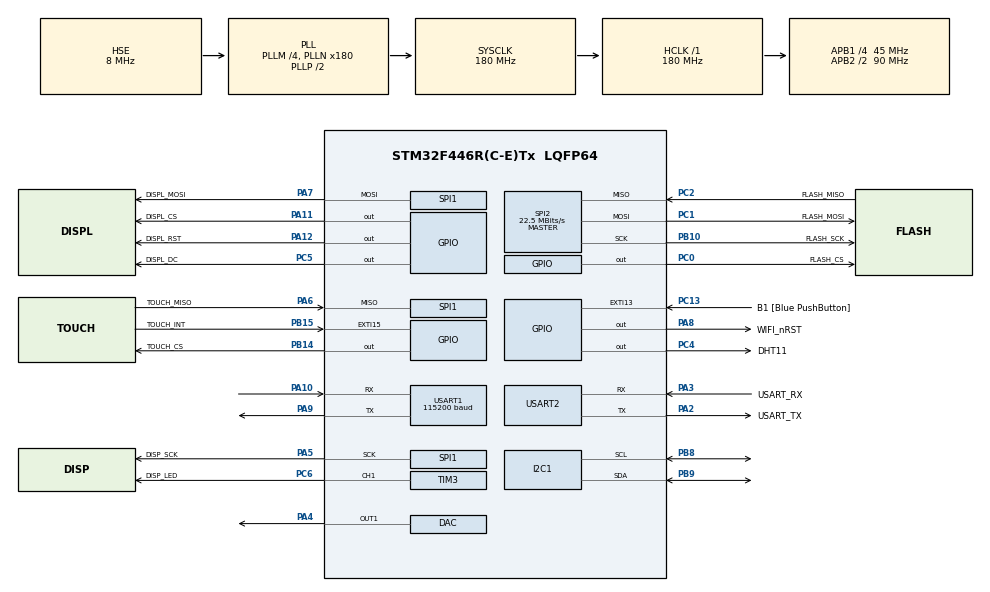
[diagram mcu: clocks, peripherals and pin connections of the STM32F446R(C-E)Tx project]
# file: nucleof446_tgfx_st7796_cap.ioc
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Dma.Request0=SPI1_TX
Dma.Request1=USART1_RX
Dma.Request2=SPI2_TX
Dma.Request3=USART1_TX
Dma.SPI1_TX.0.Direction=DMA_MEMORY_TO_PERIPH
Dma.SPI1_TX.0.FIFOMode=DMA_FIFOMODE_DISABLE
Dma.SPI1_TX.0.Instance=DMA2_Stream3
Dma.SPI1_TX.0.MemDataAlignment=DMA_MDATAALIGN_BYTE
Dma.SPI1_TX.0.MemInc=DMA_MINC_ENABLE
Dma.SPI1_TX.0.Mode=DMA_NORMAL
Dma.SPI1_TX.0.PeriphDataAlignment=DMA_PDATAALIGN_BYTE
Dma.SPI1_TX.0.PeriphInc=DMA_PINC_DISABLE
Dma.SPI1_TX.0.Priority=DMA_PRIORITY_LOW
Dma.SPI2_TX.2.Direction=DMA_MEMORY_TO_PERIPH
Dma.SPI2_TX.2.FIFOMode=DMA_FIFOMODE_DISABLE
Dma.SPI2_TX.2.Instance=DMA1_Stream4
Dma.SPI2_TX.2.MemDataAlignment=DMA_MDATAALIGN_BYTE
Dma.SPI2_TX.2.MemInc=DMA_MINC_ENABLE
Dma.SPI2_TX.2.Mode=DMA_NORMAL
Dma.SPI2_TX.2.PeriphDataAlignment=DMA_PDATAALIGN_BYTE
Dma.SPI2_TX.2.PeriphInc=DMA_PINC_DISABLE
Dma.SPI2_TX.2.Priority=DMA_PRIORITY_LOW
Dma.USART1_RX.1.Direction=DMA_PERIPH_TO_MEMORY
Dma.USART1_RX.1.FIFOMode=DMA_FIFOMODE_DISABLE
Dma.USART1_RX.1.Instance=DMA2_Stream2
Dma.USART1_RX.1.MemDataAlignment=DMA_MDATAALIGN_BYTE
Dma.USART1_RX.1.MemInc=DMA_MINC_ENABLE
Dma.USART1_RX.1.Mode=DMA_NORMAL
Dma.USART1_RX.1.PeriphDataAlignment=DMA_PDATAALIGN_BYTE
Dma.USART1_RX.1.PeriphInc=DMA_PINC_DISABLE
Dma.USART1_RX.1.Priority=DMA_PRIORITY_LOW
Dma.USART1_TX.3.Direction=DMA_MEMORY_TO_PERIPH
Dma.USART1_TX.3.FIFOMode=DMA_FIFOMODE_DISABLE
Dma.USART1_TX.3.Instance=DMA2_Stream7
Dma.USART1_TX.3.MemDataAlignment=DMA_MDATAALIGN_BYTE
Dma.USART1_TX.3.MemInc=DMA_MINC_ENABLE
Dma.USART1_TX.3.Mode=DMA_NORMAL
Dma.USART1_TX.3.PeriphDataAlignment=DMA_PDATAALIGN_BYTE
Dma.USART1_TX.3.PeriphInc=DMA_PINC_DISABLE
Dma.USART1_TX.3.Priority=DMA_PRIORITY_LOW
Mcu.Family=STM32F4
Mcu.Name=STM32F446R(C-E)Tx
Mcu.Package=LQFP64
NVIC.DMA1_Stream4_IRQn=true\:0\:0\:false\:false\:true\:false\:true\:true
NVIC.DMA2_Stream2_IRQn=true\:0\:0\:false\:false\:true\:false\:true\:true
NVIC.DMA2_Stream3_IRQn=true\:0\:0\:false\:false\:true\:false\:true\:true
NVIC.DMA2_Stream7_IRQn=true\:0\:0\:false\:false\:true\:false\:true\:true
NVIC.EXTI15_10_IRQn=true\:0\:0\:false\:false\:true\:true\:true\:true
NVIC.PriorityGroup=NVIC_PRIORITYGROUP_0
NVIC.SPI1_IRQn=true\:0\:0\:false\:false\:true\:true\:true\:true
NVIC.TIM2_IRQn=true\:0\:0\:false\:false\:true\:true\:true\:true
NVIC.TIM3_IRQn=true\:0\:0\:false\:false\:true\:true\:true\:true
NVIC.USART1_IRQn=true\:0\:0\:false\:false\:true\:true\:true\:true
NimaLTD.I-CUBE-ATC.4.2.2.ATC_DEBUG=ATC_DEBUG_ENABLE
NimaLTD.I-CUBE-ATC.4.2.2.DriverJjATC=true
PA10.Mode=Asynchronous
PA10.Signal=USART1_RX
PA11.GPIO_Label=DISPL_CS
PA11.GPIO_Speed=GPIO_SPEED_FREQ_VERY_HIGH
PA11.PinState=GPIO_PIN_RESET
PA11.Signal=GPIO_Output
PA12.GPIO_Label=DISPL_RST
PA12.Signal=GPIO_Output
PA13.GPIO_Label=TMS
PA13.Mode=Trace_Asynchronous_SW
PA13.Signal=SYS_JTMS-SWDIO
PA14.GPIO_Label=TCK
PA14.Mode=Trace_Asynchronous_SW
PA14.Signal=SYS_JTCK-SWCLK
PA2.GPIO_Label=USART_TX
PA2.Mode=Asynchronous
PA2.Signal=USART2_TX
PA3.GPIO_Label=USART_RX
PA3.Mode=Asynchronous
PA3.Signal=USART2_RX
PA4.Signal=COMP_DAC1_group
PA5.GPIO_Label=DISP_SCK
PA5.Mode=Full_Duplex_Master
PA5.Signal=SPI1_SCK
PA6.GPIO_Label=TOUCH_MISO
PA6.Mode=Full_Duplex_Master
PA6.Signal=SPI1_MISO
PA7.GPIO_Label=DISPL_MOSI
PA7.Mode=Full_Duplex_Master
PA7.Signal=SPI1_MOSI
PA8.GPIO_Label=WIFI_nRST
PA8.Signal=GPIO_Output
PA9.Mode=Asynchronous
PA9.Signal=USART1_TX
PB10.GPIO_Label=FLASH_SCK
PB10.Mode=Full_Duplex_Master
PB10.Signal=SPI2_SCK
PB14.GPIO_Label=TOUCH_CS
PB14.PinState=GPIO_PIN_SET
PB14.Signal=GPIO_Output
PB15.GPIO_Label=TOUCH_INT
PB15.GPIO_ModeDefaultEXTI=GPIO_MODE_IT_FALLING
PB15.GPIO_PuPd=GPIO_PULLUP
PB15.Signal=GPXTI15
PB3.Mode=Trace_Asynchronous_SW
PB3.Signal=SYS_JTDO-SWO
PB8.Mode=I2C
PB8.Signal=I2C1_SCL
PB9.Mode=I2C
PB9.Signal=I2C1_SDA
PC0.GPIO_Label=FLASH_CS
PC0.GPIO_Speed=GPIO_SPEED_FREQ_HIGH
PC0.PinState=GPIO_PIN_SET
PC0.Signal=GPIO_Output
PC1.GPIO_Label=FLASH_MOSI
PC1.Mode=Full_Duplex_Master
PC1.Signal=SPI2_MOSI
PC13.GPIO_Label=B1 [Blue PushButton]
PC13.GPIO_ModeDefaultEXTI=GPIO_MODE_IT_FALLING
PC13.Signal=GPXTI13
PC14-OSC32_IN.Mode=LSE-External-Oscillator
PC14-OSC32_IN.Signal=RCC_OSC32_IN
PC15-OSC32_OUT.Mode=LSE-External-Oscillator
PC15-OSC32_OUT.Signal=RCC_OSC32_OUT
PC2.GPIO_Label=FLASH_MISO
PC2.Mode=Full_Duplex_Master
PC2.Signal=SPI2_MISO
PC4.GPIO_Label=DHT11
PC4.Signal=GPIO_Output
PC5.GPIO_Label=DISPL_DC
PC5.GPIO_Speed=GPIO_SPEED_FREQ_VERY_HIGH
PC5.PinState=GPIO_PIN_SET
PC5.Signal=GPIO_Output
PC6.GPIO_Label=DISP_LED
PC6.Signal=S_TIM3_CH1
PH0-OSC_IN.Mode=HSE-External-Oscillator
PH0-OSC_IN.Signal=RCC_OSC_IN
PH1-OSC_OUT.Mode=HSE-External-Oscillator
PH1-OSC_OUT.Signal=RCC_OSC_OUT
ProjectManager.HeapSize=0x300
ProjectManager.StackSize=0x500
ProjectManager.TargetToolchain=STM32CubeIDE
RCC.48MHZClocksFreq_Value=84000000
RCC.AHBFreq_Value=180000000
RCC.APB1CLKDivider=RCC_HCLK_DIV4
RCC.APB1Freq_Value=45000000
RCC.APB1TimFreq_Value=90000000
RCC.APB2CLKDivider=RCC_HCLK_DIV2
RCC.APB2Freq_Value=90000000
RCC.APB2TimFreq_Value=180000000
RCC.CortexFreq_Value=180000000
RCC.FLatency-AdvancedSettings=FLASH_LATENCY_5
RCC.HCLKFreq_Value=180000000
RCC.HSE_VALUE=8000000
RCC.HSI_VALUE=16000000
RCC.PLLI2SM=6
RCC.PLLM=4
RCC.PLLN=180
RCC.PLLSourceVirtual=RCC_PLLSOURCE_HSE
RCC.SYSCLKFreq_VALUE=180000000
RCC.SYSCLKSource=RCC_SYSCLKSOURCE_PLLCLK
RCC.USBFreq_Value=180000000
RCC.VCOOutputFreq_Value=360000000
SH.COMP_DAC1_group.0=DAC_OUT1,DAC_OUT1
SH.S_TIM3_CH1.0=TIM3_CH1,PWM Generation1 CH1
SPI1.CalculateBaudRate=45.0 MBits/s
SPI1.Direction=SPI_DIRECTION_2LINES
SPI1.Mode=SPI_MODE_MASTER
SPI1.VirtualType=VM_MASTER
SPI2.BaudRatePrescaler=SPI_BAUDRATEPRESCALER_2
SPI2.CLKPhase=SPI_PHASE_1EDGE
SPI2.CLKPolarity=SPI_POLARITY_LOW
SPI2.CalculateBaudRate=22.5 MBits/s
SPI2.Direction=SPI_DIRECTION_2LINES
SPI2.Mode=SPI_MODE_MASTER
SPI2.VirtualType=VM_MASTER
STMicroelectronics.X-CUBE-TOUCHGFX.4.26.0.ApplicationCcGraphicsJjApplication=TouchGFXOoGenerator
STMicroelectronics.X-CUBE-TOUCHGFX.4.26.0.tgfx_buffering_strategy=Partial
STMicroelectronics.X-CUBE-TOUCHGFX.4.26.0.tgfx_custom_height=320
STMicroelectronics.X-CUBE-TOUCHGFX.4.26.0.tgfx_custom_width=480
STMicroelectronics.X-CUBE-TOUCHGFX.4.26.0.tgfx_datareader=Enabled
STMicroelectronics.X-CUBE-TOUCHGFX.4.26.0.tgfx_datareader_mem_size=16777216
STMicroelectronics.X-CUBE-TOUCHGFX.4.26.0_IsPackSelfContextualization=true
TIM2.Period=100-1
TIM2.Prescaler=15000-1
TIM2.TIM_MasterOutputTrigger=TIM_TRGO_UPDATE
TIM3.AutoReloadPreload=TIM_AUTORELOAD_PRELOAD_ENABLE
TIM3.Channel-PWM\ Generation1\ CH1=TIM_CHANNEL_1
TIM3.Period=100
TIM3.Prescaler=9000-1
USART1.BaudRate=115200
USART1.VirtualMode=VM_ASYNC
USART2.VirtualMode=VM_ASYNC
VP_CRC_VS_CRC.Mode=CRC_Activate
VP_NimaLTD.I-CUBE-ATC_VS_DriverJjATC_1.0.0_4.2.2.Mode=DriverJjATC
VP_STMicroelectronics.X-CUBE-TOUCHGFX_VS_GraphicsJjApplication_4.26.0.Mode=GraphicsJjApplication
VP_TIM2_VS_ClockSourceINT.Mode=Internal
board=NUCLEO-F446RE

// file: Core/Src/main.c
/* USER CODE BEGIN Header */
/**
  ******************************************************************************
  * @file           : main.c
  * @brief          : Main program body
  ******************************************************************************
  * @attention
  *
  * Copyright (c) 2025 STMicroelectronics.
  * All rights reserved.
  *
  * This software is licensed under terms that can be found in the LICENSE file
  * in the root directory of this software component.
  * If no LICENSE file comes with this software, it is provided AS-IS.
  *
  ******************************************************************************
  */
/* USER CODE END Header */
#include "main.h"
#include "crc.h"
#include "dac.h"
#include "dma.h"
#include "i2c.h"
#include "spi.h"
#include "tim.h"
#include "usart.h"
#include "gpio.h"
#include "app_touchgfx.h"

/* USER CODE BEGIN Includes */
#include <stdio.h>
#include <stdbool.h>
#include "dht.h"
#include "atc.h"
#include "espat.h"
/* USER CODE END Includes */

/* USER CODE BEGIN PTD */
DHT_sensor am2302 = {
    .DHT_Port = DHT11_GPIO_Port,
    .DHT_Pin = DHT11_Pin,
    .type = DHT22,
    .pullUp = GPIO_PULLUP
};

DHT_data dht_data;
/* USER CODE END PTD */

/* USER CODE BEGIN PV */
DHT_data dht11_data; // Using DHT_data from new driver directly
ATC_HandleTypeDef espat;
bool connected;
//event callback structure
void mqttRX();

const ATC_EventTypeDef events[] = { { "+MQTTSUBRECV:0", mqttRX } };
/* USER CODE END PV */

void SystemClock_Config(void);

/* USER CODE BEGIN 0 */
void mqttRX()
{

	printf("sub event: %s\r\n",espat.pRxBuff);
}
/* USER CODE END 0 */

int main(void)
{

  /* MCU Configuration--------------------------------------------------------*/

  /* Reset of all peripherals, Initializes the Flash interface and the Systick. */
  HAL_Init();

  /* Configure the system clock */
  SystemClock_Config();

  /* Initialize all configured peripherals */
  MX_GPIO_Init();
  MX_DMA_Init();
  MX_USART2_UART_Init();
  MX_CRC_Init();
  MX_SPI1_Init();
  MX_TIM3_Init();
  MX_TIM2_Init();
  MX_USART1_UART_Init();
  MX_SPI2_Init();
  MX_I2C1_Init();
  MX_DAC_Init();
  MX_TouchGFX_Init();
  /* USER CODE BEGIN 2 */
#ifndef ST7796
  Displ_Init(Displ_Orientat_270);			// initialize display controller - set orientation parameter as per TouchGFX setup
#else
  Displ_Init(Displ_Orientat_90);
#endif
  Displ_BackLight('I');  					// initialize backlight
  HAL_TIM_Base_Start_IT(&TGFX_T);			// start TouchGFX tick timer

  ATC_Init(&espat, &huart1, 512, "ESPAT"); //init espAT WiFi
  ATC_SetEvents(&espat, events); 	//set esp callbacks

  subscribeToMQTT();
  /* USER CODE END 2 */

  /* Infinite loop */
  /* USER CODE BEGIN WHILE */
  while (1)
  {
	  ATC_Loop(&espat);
    /* USER CODE END WHILE */

  MX_TouchGFX_Process();
    /* USER CODE BEGIN 3 */
  static uint32_t last_dht11_read_tick = 0;
  if (HAL_GetTick() - last_dht11_read_tick >= 1000)
  {
      dht_data = DHT_getData(&am2302);
      //printf("main.c - Raw DHT Temp: %.1f, Hum: %.1f\r\n", dht_data.temp, dht_data.hum); // Debug print

      dht11_data.temp = dht_data.temp;
      dht11_data.hum = dht_data.hum;
      last_dht11_read_tick = HAL_GetTick();
  }

  static uint32_t last_thingspeak_tick = 0;
  if (HAL_GetTick() - last_thingspeak_tick >= 30000)
  {
	  sendToThingspeak();

      last_thingspeak_tick = HAL_GetTick();
  }

  static uint32_t last_mqtt_tick = 0;
  if (HAL_GetTick() - last_mqtt_tick >= 60000)
  {
	  sendToMQTT();

      last_mqtt_tick = HAL_GetTick();
  }

  }
  /* USER CODE END 3 */
}

void SystemClock_Config(void)
{
  RCC_OscInitTypeDef RCC_OscInitStruct = {0};
  RCC_ClkInitTypeDef RCC_ClkInitStruct = {0};

  /** Configure the main internal regulator output voltage
  */
  __HAL_RCC_PWR_CLK_ENABLE();
  __HAL_PWR_VOLTAGESCALING_CONFIG(PWR_REGULATOR_VOLTAGE_SCALE1);

  /** Initializes the RCC Oscillators according to the specified parameters
  * in the RCC_OscInitTypeDef structure.
  */
  RCC_OscInitStruct.OscillatorType = RCC_OSCILLATORTYPE_HSE;
  RCC_OscInitStruct.HSEState = RCC_HSE_ON;
  RCC_OscInitStruct.PLL.PLLState = RCC_PLL_ON;
  RCC_OscInitStruct.PLL.PLLSource = RCC_PLLSOURCE_HSE;
  RCC_OscInitStruct.PLL.PLLM = 4;
  RCC_OscInitStruct.PLL.PLLN = 180;
  RCC_OscInitStruct.PLL.PLLP = RCC_PLLP_DIV2;
  RCC_OscInitStruct.PLL.PLLQ = 2;
  RCC_OscInitStruct.PLL.PLLR = 2;
  if (HAL_RCC_OscConfig(&RCC_OscInitStruct) != HAL_OK)
  {
    Error_Handler();
  }

  /** Activate the Over-Drive mode
  */
  if (HAL_PWREx_EnableOverDrive() != HAL_OK)
  {
    Error_Handler();
  }

  /** Initializes the CPU, AHB and APB buses clocks
  */
  RCC_ClkInitStruct.ClockType = RCC_CLOCKTYPE_HCLK|RCC_CLOCKTYPE_SYSCLK
                              |RCC_CLOCKTYPE_PCLK1|RCC_CLOCKTYPE_PCLK2;
  RCC_ClkInitStruct.SYSCLKSource = RCC_SYSCLKSOURCE_PLLCLK;
  RCC_ClkInitStruct.AHBCLKDivider = RCC_SYSCLK_DIV1;
  RCC_ClkInitStruct.APB1CLKDivider = RCC_HCLK_DIV4;
  RCC_ClkInitStruct.APB2CLKDivider = RCC_HCLK_DIV2;

  if (HAL_RCC_ClockConfig(&RCC_ClkInitStruct, FLASH_LATENCY_5) != HAL_OK)
  {
    Error_Handler();
  }
}

/* USER CODE BEGIN 4 */
int __io_putchar(int ch)
{
	ITM_SendChar(ch);
	return 0;
}
/* USER CODE END 4 */

void Error_Handler(void)
{
  __disable_irq();
  while (1)
  {
  }
}
